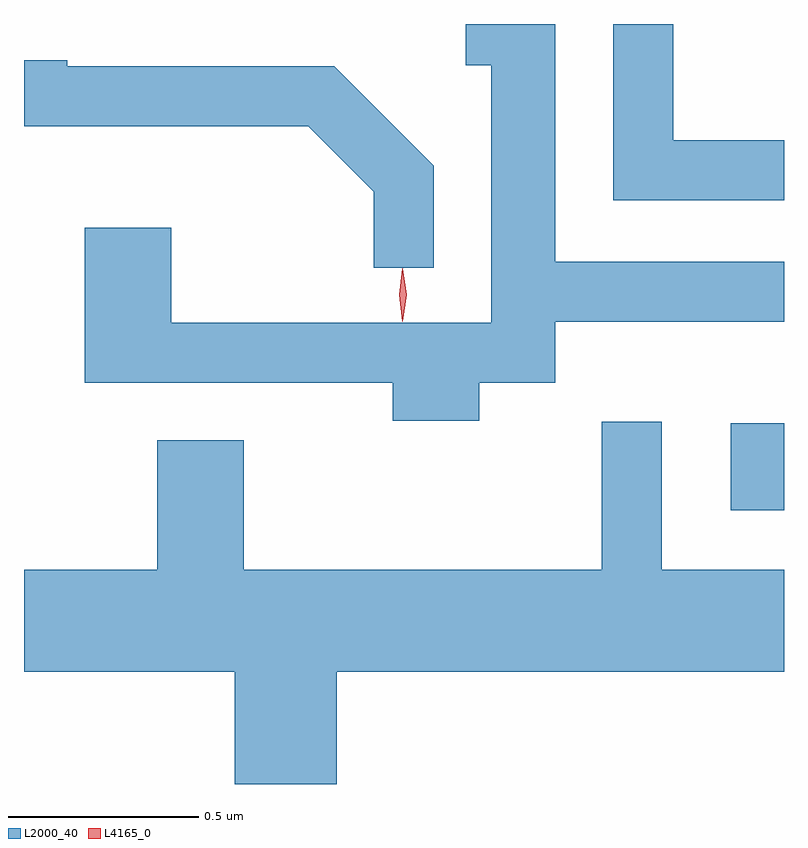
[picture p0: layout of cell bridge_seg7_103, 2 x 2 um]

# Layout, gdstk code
import gdstk
lib = gdstk.Library(unit=1e-6, precision=1e-09)
def R(c, l, rs):  # rectangles x0, y0, x1, y1
    for r in rs: c.add(gdstk.rectangle(r[:2], r[2:], *l))
def P(c, l, *ps):  # polygons
    for p in ps: c.add(gdstk.Polygon(p, *l))
L2000_40 = (2000, 40)
L4165_0 = (4165, 0)

bridge_seg7_103 = lib.new_cell('bridge_seg7_103')
R(bridge_seg7_103, L2000_40, [(1634.961,1752.481,1635.101,1752.709)])
P(bridge_seg7_103, L2000_40, [(1634.299,1752.816),(1634.499,1752.816),(1634.499,1752.976),(1635.101,1752.976),(1635.101,1753.134),(1634.499,1753.134),(1634.499,1753.76),(1634.263,1753.76),(1634.263,1753.651),(1634.331,1753.651),(1634.331,1752.974),(1633.489,1752.974),(1633.489,1753.224),(1633.261,1753.224),(1633.261,1752.816),(1634.071,1752.816),(1634.071,1752.716),(1634.299,1752.716)],
  [(1635.101,1753.454),(1634.809,1753.454),(1634.809,1753.76),(1634.651,1753.76),(1634.651,1753.296),(1635.101,1753.296)],
  [(1634.179,1753.387),(1633.917,1753.649),(1633.215,1753.649),(1633.215,1753.664),(1633.101,1753.664),(1633.101,1753.491),(1633.849,1753.491),(1634.021,1753.319),(1634.021,1753.118),(1634.179,1753.118)],
  [(1633.924,1752.056),(1635.101,1752.056),(1635.101,1752.324),(1634.779,1752.324),(1634.779,1752.713),(1634.621,1752.713),(1634.621,1752.324),(1633.679,1752.324),(1633.679,1752.664),(1633.451,1752.664),(1633.451,1752.324),(1633.101,1752.324),(1633.101,1752.056),(1633.656,1752.056),(1633.656,1751.76),(1633.924,1751.76)])
P(bridge_seg7_103, L4165_0, [(1634.098,1752.977),(1634.097,1752.978),(1634.088,1753.047),(1634.097,1753.116),(1634.098,1753.117),(1634.098,1753.116),(1634.108,1753.047),(1634.098,1752.978)])

lib.write_gds('bridge_seg7_103.gds')
